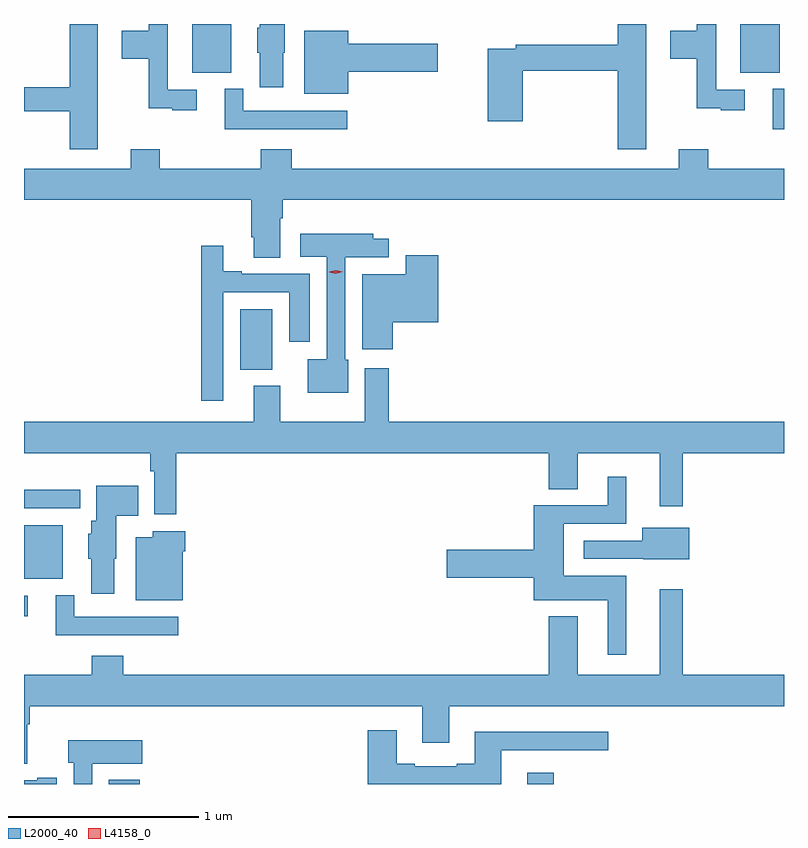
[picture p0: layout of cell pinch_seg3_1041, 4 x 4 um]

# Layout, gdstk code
import gdstk
lib = gdstk.Library(unit=1e-6, precision=1e-09)
def R(c, l, rs):  # rectangles x0, y0, x1, y1
    for r in rs: c.add(gdstk.rectangle(r[:2], r[2:], *l))
def P(c, l, *ps):  # polygons
    for p in ps: c.add(gdstk.Polygon(p, *l))
L2000_40 = (2000, 40)
L4158_0 = (4158, 0)

pinch_seg3_1041 = lib.new_cell('pinch_seg3_1041')
R(pinch_seg3_1041, L2000_40, [(348.929,689.85,349.091,689.872), (351.131,689.85,351.271,689.908), (348.482,690.732,348.502,690.84), (348.482,690.929,348.685,691.213), (349.619,692.03,349.789,692.35), (352.424,693.297,352.482,693.508), (349.367,693.593,349.573,693.85), (352.253,693.593,352.459,693.85)])
P(pinch_seg3_1041, L2000_40, [(349.846,693.699),(349.855,693.699),(349.855,693.85),(349.724,693.85),(349.724,693.831),(349.709,693.831),(349.709,693.699),(349.724,693.699),(349.724,693.516),(349.846,693.516)],
  [(348.871,693.85),(348.722,693.85),(348.722,693.518),(348.482,693.518),(348.482,693.39),(348.722,693.39),(348.722,693.192),(348.871,693.192)],
  [(351.757,693.85),(351.608,693.85),(351.608,693.74),(351.07,693.74),(351.07,693.72),(350.924,693.72),(350.924,693.339),(351.107,693.339),(351.107,693.604),(351.608,693.604),(351.608,693.192),(351.757,693.192)],
  [(352.276,693.504),(352.125,693.504),(352.125,693.85),(352.024,693.85),(352.024,693.814),(351.882,693.814),(351.882,693.667),(352.024,693.667),(352.024,693.407),(352.148,693.407),(352.148,693.396),(352.276,693.396)],
  [(349.39,693.504),(349.239,693.504),(349.239,693.85),(349.138,693.85),(349.138,693.814),(348.996,693.814),(348.996,693.667),(349.138,693.667),(349.138,693.407),(349.262,693.407),(349.262,693.396),(349.39,693.396)],
  [(350.188,693.599),(350.659,693.599),(350.659,693.746),(350.188,693.746),(350.188,693.814),(349.958,693.814),(349.958,693.482),(350.188,693.482)],
  [(350.182,693.393),(349.635,693.393),(349.635,693.508),(349.538,693.508),(349.538,693.297),(350.182,693.297)],
  [(349.831,692.828),(349.844,692.828),(349.844,692.924),(352.482,692.924),(352.482,693.088),(352.082,693.088),(352.082,693.19),(351.929,693.19),(351.929,693.088),(349.892,693.088),(349.892,693.19),(349.727,693.19),(349.727,693.088),(349.196,693.088),(349.196,693.19),(349.043,693.19),(349.043,693.088),(348.482,693.088),(348.482,692.924),(349.679,692.924),(349.679,692.728),(349.691,692.728),(349.691,692.62),(349.831,692.62)],
  [(350.188,692.082),(350.172,692.082),(350.172,692.622),(350.401,692.622),(350.401,692.72),(350.319,692.72),(350.319,692.746),(349.935,692.746),(349.935,692.624),(350.076,692.624),(350.076,692.086),(349.976,692.086),(349.976,691.91),(350.188,691.91)],
  [(349.53,692.439),(349.877,692.439),(349.877,692.178),(349.987,692.178),(349.987,692.535),(349.627,692.535),(349.627,692.548),(349.531,692.548),(349.531,692.683),(349.414,692.683),(349.414,691.866),(349.53,691.866)],
  [(350.423,692.279),(350.663,692.279),(350.663,692.632),(350.492,692.632),(350.492,692.533),(350.261,692.533),(350.261,692.139),(350.423,692.139)],
  [(349.283,691.592),(351.245,691.592),(351.245,691.402),(351.397,691.402),(351.397,691.592),(351.827,691.592),(351.827,691.311),(351.949,691.311),(351.949,691.592),(352.482,691.592),(352.482,691.756),(350.402,691.756),(350.402,692.038),(350.276,692.038),(350.276,691.756),(349.831,691.756),(349.831,691.945),(349.691,691.945),(349.691,691.756),(348.482,691.756),(348.482,691.592),(349.147,691.592),(349.147,691.496),(349.167,691.496),(349.167,691.269),(349.283,691.269)],
  [(351.652,690.946),(351.322,690.946),(351.322,691.221),(351.652,691.221),(351.652,691.468),(351.554,691.468),(351.554,691.317),(351.164,691.317),(351.164,691.082),(350.706,691.082),(350.706,690.935),(351.164,690.935),(351.164,690.818),(351.554,690.818),(351.554,690.531),(351.652,690.531)],
  [(348.958,691.035),(348.967,691.035),(348.967,691.262),(349.082,691.262),(349.082,691.42),(348.863,691.42),(348.863,691.236),(348.836,691.236),(348.836,691.167),(348.821,691.167),(348.821,691.035),(348.836,691.035),(348.836,690.852),(348.958,690.852)],
  [(348.778,691.4),(348.535,691.4),(348.535,691.398),(348.482,691.398),(348.482,691.302),(348.778,691.302)],
  [(351.982,691.198),(351.737,691.198),(351.737,691.131),(351.429,691.131),(351.429,691.035),(351.741,691.035),(351.741,691.034),(351.982,691.034)],
  [(349.318,691.076),(349.331,691.076),(349.331,691.18),(349.16,691.18),(349.16,691.15),(349.07,691.15),(349.07,690.818),(349.318,690.818)],
  [(348.499,690.164),(348.512,690.164),(348.512,690.26),(350.579,690.26),(350.579,690.066),(350.719,690.066),(350.719,690.26),(352.482,690.26),(352.482,690.424),(351.949,690.424),(351.949,690.874),(351.827,690.874),(351.827,690.424),(351.397,690.424),(351.397,690.733),(351.245,690.733),(351.245,690.424),(349.004,690.424),(349.004,690.526),(348.839,690.526),(348.839,690.424),(348.482,690.424),(348.482,689.956),(348.499,689.956)],
  [(349.294,690.729),(348.747,690.729),(348.747,690.844),(348.65,690.844),(348.65,690.633),(349.294,690.633)],
  [(350.995,690.027),(351.556,690.027),(351.556,690.124),(350.855,690.124),(350.855,689.956),(350.759,689.956),(350.759,689.943),(350.539,689.943),(350.539,689.956),(350.443,689.956),(350.443,690.133),(350.291,690.133),(350.291,689.85),(350.995,689.85)],
  [(348.84,689.957),(349.105,689.957),(349.105,690.079),(348.716,690.079),(348.716,689.961),(348.744,689.961),(348.744,689.85),(348.84,689.85)],
  [(348.655,689.884),(348.551,689.884),(348.551,689.871),(348.482,689.871),(348.482,689.85),(348.655,689.85)])
P(pinch_seg3_1041, L4158_0, [(350.124,692.535),(350.088,692.544),(350.088,692.545),(350.088,692.545),(350.124,692.555),(350.16,692.546),(350.16,692.546),(350.16,692.546)])

lib.write_gds('pinch_seg3_1041.gds')
